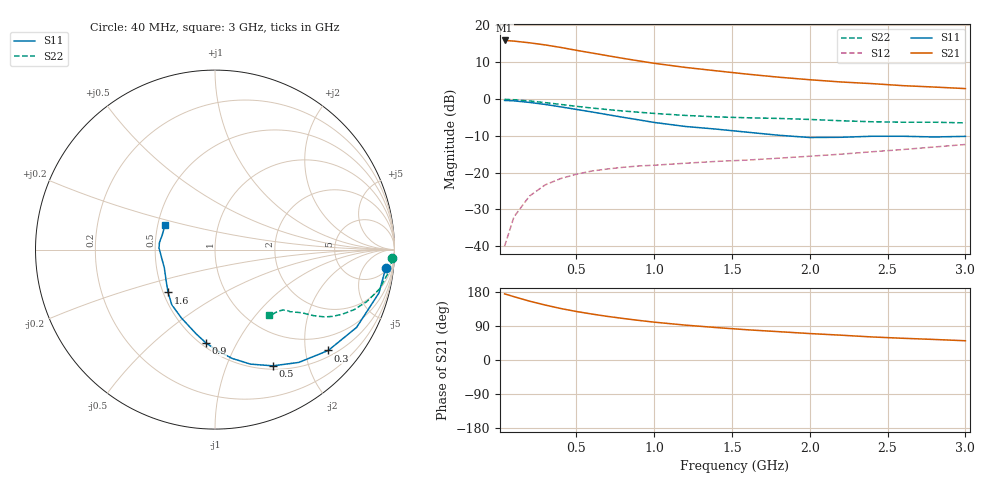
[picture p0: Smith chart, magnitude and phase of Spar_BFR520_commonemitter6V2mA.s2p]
! Filename:  BFR520G.S2P  Version:  2.1
! NXP part #: BFR520  Date: Sep 1991
! Bias condition: Vce=6V, Ic=2mA
#  MHz  S  MA  R  50
! Freq  S11  S21  S12  S22  !GUM [dB]
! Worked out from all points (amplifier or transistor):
!   21 points, 40 MHz to 3 GHz, reference 50 ohm
!   highest |S21| = 15.9 dB at 40 MHz (marker M1)
!   |S21| within 3 dB of that: start of sweep to 545.1 MHz
!   unconditionally stable (mu >= 1): 1.685 GHz to end of sweep
!   at 300 MHz: K = 0.22, MSG = 19.0 dB, |S12| = -23.3 dB
!   at 1 GHz: K = 0.69, MSG = 13.9 dB, |S12| = -18.0 dB
!   at 3 GHz: K = 1.07, MAG = 6.0 dB, |S12| = -12.4 dB
!   S11 on the Smith chart (normalised r, x): 40 MHz: 7, -16; 300 MHz: 0.63, -2.49; 500 MHz: 0.54, -1.47; 900 MHz: 0.53, -0.76; 1.6 GHz: 0.53, -0.29; 3 GHz: 0.55, +0.17
40  0.957 -6.0  6.256 174.5  0.01 87.6  0.99 -2.8
100  0.945 -14.8  6.129 167.1  0.025 80.8  0.978 -7.0
200  0.9 -28.8  5.815 155.3  0.048 73.5  0.942 -13.5
300  0.845 -41.7  5.443 145.1  0.068 67.4  0.894 -18.9
400  0.783 -53.4  5.03 135.9  0.083 61.8  0.845 -23.3
500  0.723 -63.6  4.601 128.1  0.095 58.1  0.797 -26.8
600  0.668 -72.8  4.228 121.3  0.105 55.0  0.755 -29.5
700  0.614 -81.0  3.887 115.1  0.112 53.3  0.72 -31.4
800  0.565 -88.4  3.575 109.7  0.118 51.8  0.688 -32.7
900  0.522 -95.6  3.307 104.6  0.123 50.9  0.662 -33.8
1000  0.481 -102.6  3.063 99.9  0.126 50.5  0.638 -34.6
1200  0.424 -116.3  2.692 92.1  0.134 50.5  0.599 -36.0
1400  0.39 -128.2  2.419 85.6  0.142 51.6  0.572 -37.6
1600  0.354 -137.6  2.178 79.7  0.148 53.6  0.556 -38.5
1800  0.322 -147.8  1.982 74.8  0.157 56.4  0.545 -39.5
2000  0.3 -160.3  1.83 69.8  0.167 58.4  0.528 -40.1
2200  0.302 -173.0  1.706 65.5  0.178 60.6  0.507 -41.6
2400  0.312 178.4  1.62 60.8  0.192 62.6  0.491 -44.3
2600  0.312 172.7  1.52 57.3  0.206 64.1  0.484 -47.4
2800  0.305 164.7  1.455 54.2  0.223 65.9  0.484 -49.4
3000  0.311 153.5  1.387 50.8  0.241 66.8  0.474 -50.6
